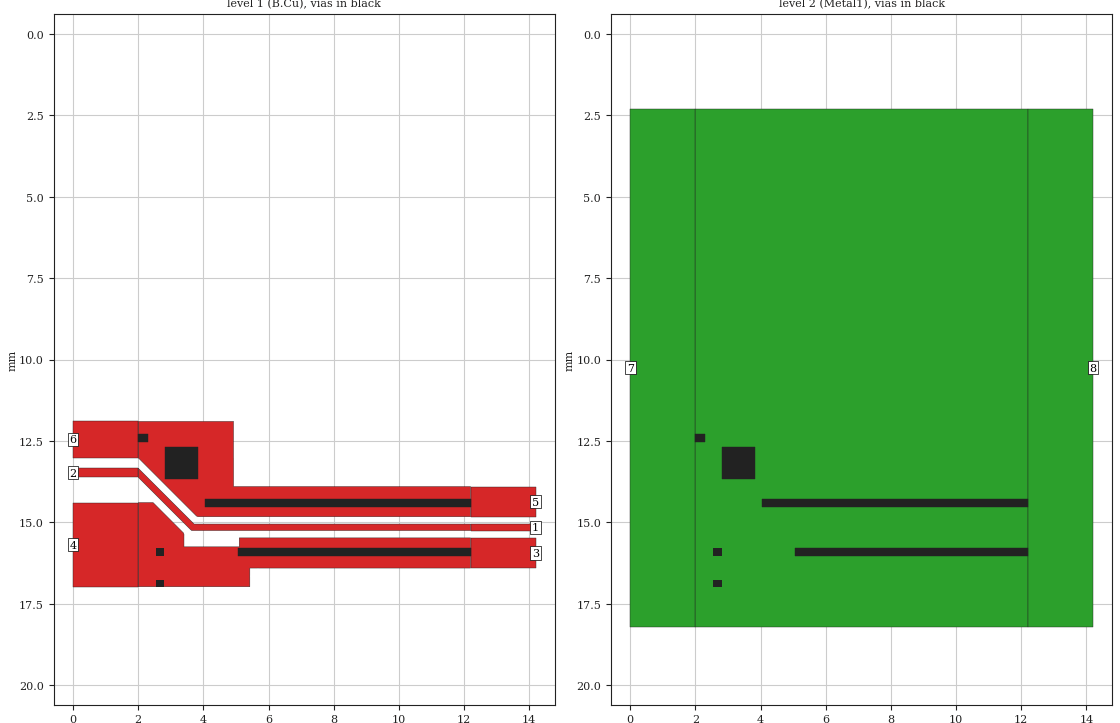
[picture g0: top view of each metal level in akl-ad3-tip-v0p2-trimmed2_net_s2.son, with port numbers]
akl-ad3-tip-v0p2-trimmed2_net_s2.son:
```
FTYP SONPROJ 19 ! Sonnet Project File
VER 18.01
HEADER
LIC antikernel2.1.51012 90e2ba8817c1 havequick azonenberg Level3Gold
DAT 09/25/2021 06:20:16
BUILT_BY_CREATED dxf 18.01 09/25/2021 05:46:11
BUILT_BY_SAVED sonnet 18.01
MDATE 09/25/2021 06:20:16
HDATE 09/25/2021 06:20:16
ANN Created by dxfgeo, Sonnet Software Inc.
END HEADER
DIM
ANG DEG
CAP PF
CON /OH
FREQ GHZ
IND NH
LNG MM
RES OH
END DIM
CONTROL
ABS
OPTIONS  -dj
SPEED 1
CACHE_ABS 2
Q_ACC N
END CONTROL
GEO
DRP1 LEFT LINK
POLY 1884 1
0
DRP1 RIGHT LINK
POLY 1889 1
0
TMET "Free Space" 0 FREESPACE 376.7303136 0 0 0
BMET "Free Space" 0 FREESPACE 376.7303136 0 0 0
MET "Copper 1oz thick" 1 TMM 58000000 0.5 0.035 2
MET "Unknown_metal" 1 VOL INF 0
BOX 3 14.2 20 1136 1600 20 0
      5 1 1 0 0 0 0 "Air"
      0.035 4.3 1 0.02 0 0 0 "Soldermask"
      0.1016 3.2 1 0.002 0 0 0 "Panasonic R-F775"
      1 1 1 0 0 0 0 "Air"
TECHLAY METAL B.Cu L1D0 -1 -65534 
1 0 0 T 296 1 1 100 100 0 0 0 Y
END
END
TECHLAY VIA Via1 L2D0 -2 -65534 
VIA POLYGON
1 0 -1 N 1853 1 1 100 100 0 0 0 Y
TOLEVEL 2 RING NOCOVERS
END
END
TECHLAY METAL Metal1 <UNSPECIFIED> -3 0 
2 0 -1 N 1784 1 1 100 100 0 0 0 Y
END
END
LORGN 0 160 U 
POR1 STD
POLY 1880 1
1
2 50 0 0 0 0 13.47543753 
POR1 STD
POLY 1882 1
1
4 50 0 0 0 0 15.6845 
POR1 STD
POLY 1883 1
1
6 50 0 0 0 0 12.458 
POR1 STD
POLY 1885 1
1
1 50 0 0 0 14.2 15.15 
POR1 STD
POLY 1887 1
1
3 50 0 0 0 14.2 15.938 
POR1 STD
POLY 1888 1
1
5 50 0 0 0 14.2 14.363 
POR1 STD
POLY 1884 1
1
7 50 0 0 0 0 10.25 
POR1 STD
POLY 1889 1
1
8 50 0 0 0 14.2 10.25 
NUM 19
1 14 0 T 1861 1 1 100 100 0 0 0 Y
TLAYNAM B.Cu INH
3.716 15.05
12.2 15.05
12.2 15.25
3.67 15.25
3.66 15.249
3.651 15.247
3.641 15.244
3.632 15.241
3.624 15.236
3.615 15.23
3.608 15.224
2 13.616
2 13.33487506
3.716 15.05
END
1 5 0 T 1864 1 1 100 100 0 0 0 Y
TLAYNAM B.Cu INH
4.779 16.968
4.775 16.961
4.775 16.975
4.785125 16.975
4.779 16.968
END
1 30 0 T 1865 1 1 100 100 0 0 0 Y
TLAYNAM B.Cu INH
5.426 16.662
5.424 16.652
5.424 16.647
5.426 16.638
5.426 16.401
5.663 16.401
5.673 16.399
5.678 16.399
5.687 16.401
12.2 16.401
12.2 15.475
5.1 15.475
5.1 15.75
3.404 15.75
3.404 15.402
3.405 15.391
3.405 15.38
3.404 15.369
3.402 15.358
3.399 15.348
3.394 15.337
3.389 15.328
3.383 15.318
3.376 15.31
3.368 15.303
2.459 14.394
2 14.394
2 16.975
5.426 16.975
5.426 16.662
END
1 38 0 T 1868 1 1 100 100 0 0 0 Y
TLAYNAM B.Cu INH
2.0295 13.0455
2.0295 13.0455
2.235 13.251
2.235 13.251
2.235 13.251
3.25 14.266
3.25 14.266
3.25 14.266
3.467 14.483
3.467 14.483
3.78 14.796
3.798 14.81
3.808 14.815
3.818 14.819
3.829 14.822
3.839 14.824
3.85 14.826
12.2 14.826
12.2 13.9
12.187 13.9
12.172 13.902
12.171 13.902
12.163 13.9
5.187 13.9
5.172 13.902
5.171 13.902
5.163 13.9
4.926 13.9
4.926 13.662
4.924 13.652
4.924 13.647
4.926 13.638
4.926 13.044
4.925 13.0385
4.925 11.9
2 11.9
2 13.016
2.0295 13.0455
END
VIA POLYGON
1 5 -1 N 1874 1 1 100 100 0 0 0 Y
TOLEVEL 2 RING NOCOVERS
TLAYNAM Via1 INH
2.55 16.025
2.55 15.775
2.8 15.775
2.8 16.025
2.55 16.025
END
VIA POLYGON
1 5 -1 N 1875 1 1 100 100 0 0 0 Y
TOLEVEL 2 RING NOCOVERS
TLAYNAM Via1 INH
5.05 16.025
5.05 15.775
12.2 15.775
12.2 16.025
5.05 16.025
END
VIA POLYGON
1 5 -1 N 1876 1 1 100 100 0 0 0 Y
TOLEVEL 2 RING NOCOVERS
TLAYNAM Via1 INH
2.825 13.675
2.825 12.675
3.825 12.675
3.825 13.675
2.825 13.675
END
VIA POLYGON
1 5 -1 N 1877 1 1 100 100 0 0 0 Y
TOLEVEL 2 RING NOCOVERS
TLAYNAM Via1 INH
2.3 12.275
2.3 12.525
2 12.525
2 12.275
2.3 12.275
END
VIA POLYGON
1 5 -1 N 1878 1 1 100 100 0 0 0 Y
TOLEVEL 2 RING NOCOVERS
TLAYNAM Via1 INH
2.8 16.775
2.55 16.775
2.55 16.975
2.8 16.975
2.8 16.775
END
VIA POLYGON
1 5 -1 N 1879 1 1 100 100 0 0 0 Y
TOLEVEL 2 RING NOCOVERS
TLAYNAM Via1 INH
4.05 14.275
4.05 14.525
12.2 14.525
12.2 14.275
4.05 14.275
END
1 5 -1 T 1880 1 1 100 100 0 0 0 Y
2 13.616
0 13.616
0 13.33487506
2 13.33487506
2 13.616
END
1 5 -1 N 1882 1 1 100 100 0 0 0 Y
2 14.394
0 14.394
0 16.975
2 16.975
2 14.394
END
1 5 -1 N 1883 1 1 100 100 0 0 0 Y
2 11.9
0 11.9
0 13.016
2 13.016
2 11.9
END
1 5 -1 T 1885 1 1 100 100 0 0 0 Y
12.2 15.05
14.2 15.05
14.2 15.25
12.2 15.25
12.2 15.05
END
1 5 -1 N 1887 1 1 100 100 0 0 0 Y
12.2 16.401
14.2 16.401
14.2 15.475
12.2 15.475
12.2 16.401
END
1 5 -1 N 1888 1 1 100 100 0 0 0 Y
12.2 14.826
14.2 14.826
14.2 13.9
12.2 13.9
12.2 14.826
END
2 5 -1 N 1871 1 1 100 100 0 0 0 Y
TLAYNAM Metal1 INH
2 18.2
2 2.3
12.2 2.3
12.2 18.2
2 18.2
END
2 5 -1 N 1884 1 1 100 100 0 0 0 Y
2 18.2
0 18.2
0 2.3
2 2.3
2 18.2
END
2 5 -1 N 1889 1 1 100 100 0 0 0 Y
12.2 2.3
14.2 2.3
14.2 18.2
12.2 18.2
12.2 2.3
END
END GEO
VARSWP
ENABLED Y
FREQ Y AY ABS_ENTRY 0.1 20.0 -1 300 
END
END VARSWP
```
